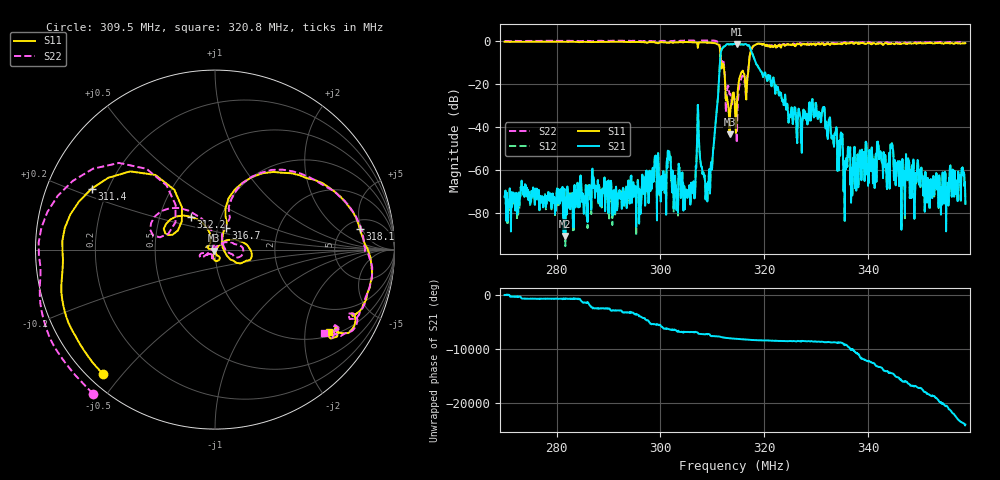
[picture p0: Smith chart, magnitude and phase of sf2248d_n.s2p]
!Agilent Technologies,E5071C,MY46104547,A.08.12
!Date: Thu May 02 14:14:40 2019
!Data & Calibration Information:
!Freq	S11:SOLT2(ON)	S21:SOLT2(ON)	S12:SOLT2(ON)	S22:SOLT2(ON)
# Hz S dB R 50
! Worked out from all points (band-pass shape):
!   1601 points, 270 MHz to 358.7 MHz, reference 50 ohm
!   highest |S21| = -1.16 dB at 314.7 MHz (marker M1); lowest = -90.7 dB at 281.7 MHz (marker M2)
!   |S21| within 3 dB of the highest: 311.7 MHz to 317.4 MHz (5.732 MHz wide, 1.82 % of centre)
!   lowest |S11| = -43.3 dB at 313.3 MHz (marker M3), VSWR 1.01, Z = 49.6 - j0.548 ohm
!   |S11| at or under -10 dB: 311.6 MHz to 317 MHz (5.411 MHz wide, 1.72 % of centre)
!   |S22| runs from -47.3 to 0.5 dB; largest |S21 - S12| = 0.001
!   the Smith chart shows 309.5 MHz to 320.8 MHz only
!   S11 on the Smith chart (normalised r, x): 309.5 MHz: 0.04, -0.45; 311.4 MHz: 0.14, +0.23; 312.2 MHz: 0.72, +0.28; 316.7 MHz: 1.09, +0.27; 318.1 MHz: 6.57, +4.58; 320.8 MHz: 1.11, -2.67
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2.7e8  -0.13 -67.0  -72.45 7.2  -72.71 5.9  0.18 -65.0
2.816973e8  -0.16 -72.3  -90.70 98.2  -95.44 119.5  0.26 -70.3
2.848018e8  -0.27 -73.5  -69.94 -60.8  -70.20 -57.8  0.19 -71.9
2.996036e8  -0.80 -86.2  -54.70 -138.9  -54.67 -139.3  -0.10 -84.7
3.015994e8  -0.68 -89.7  -51.58 167.8  -51.56 168.2  -0.18 -88.5
3.029853e8  -0.37 -92.4  -67.31 -35.0  -67.68 -35.5  0.30 -91.1
3.062007e8  -0.39 -105.6  -70.65 -39.0  -70.82 -33.7  0.42 -103.6
3.073649e8  -0.62 -105.6  -43.25 20.4  -43.22 20.6  0.11 -103.2
3.094715e8  -0.60 -131.9  -62.16 -109.5  -61.82 -109.7  0.43 -130.2
3.113564e8  -2.31 153.7  -13.83 -140.1  -13.82 -140.1  -1.11 154.2
3.122434e8  -12.82 126.5  -2.36 25.5  -2.36 25.5  -11.58 124.4
3.132967e8  -43.30 -126.2  -1.33 -95.4  -1.34 -95.4  -24.60 -156.0
3.1435e8  -32.18 -108.3  -1.22 178.9  -1.22 178.9  -27.76 -111.9
3.147381e8  -28.49 44.5  -1.16 151.3  -1.16 151.3  -42.26 88.3
3.167338e8  -17.36 64.1  -1.84 15.2  -1.85 15.2  -15.61 65.6
3.181198e8  -1.78 8.3  -8.42 -76.4  -8.44 -76.4  -1.72 8.9
3.207808e8  -2.09 -35.9  -15.59 -152.5  -15.60 -152.4  -2.30 -37.5
3.259364e8  -2.14 -49.9  -30.93 80.3  -30.93 80.4  -1.53 -48.7
3.291518e8  -1.38 -53.1  -27.53 71.7  -27.53 71.8  -1.11 -52.8
3.355826e8  -0.89 -61.8  -55.66 158.3  -55.62 158.1  -0.37 -59.0
3.439536e8  -1.14 -66.3  -57.40 82.0  -57.57 82.8  -0.95 -65.7
3.587e8  -0.79 -71.4  -75.75 120.8  -75.66 118.8  -0.69 -68.4
